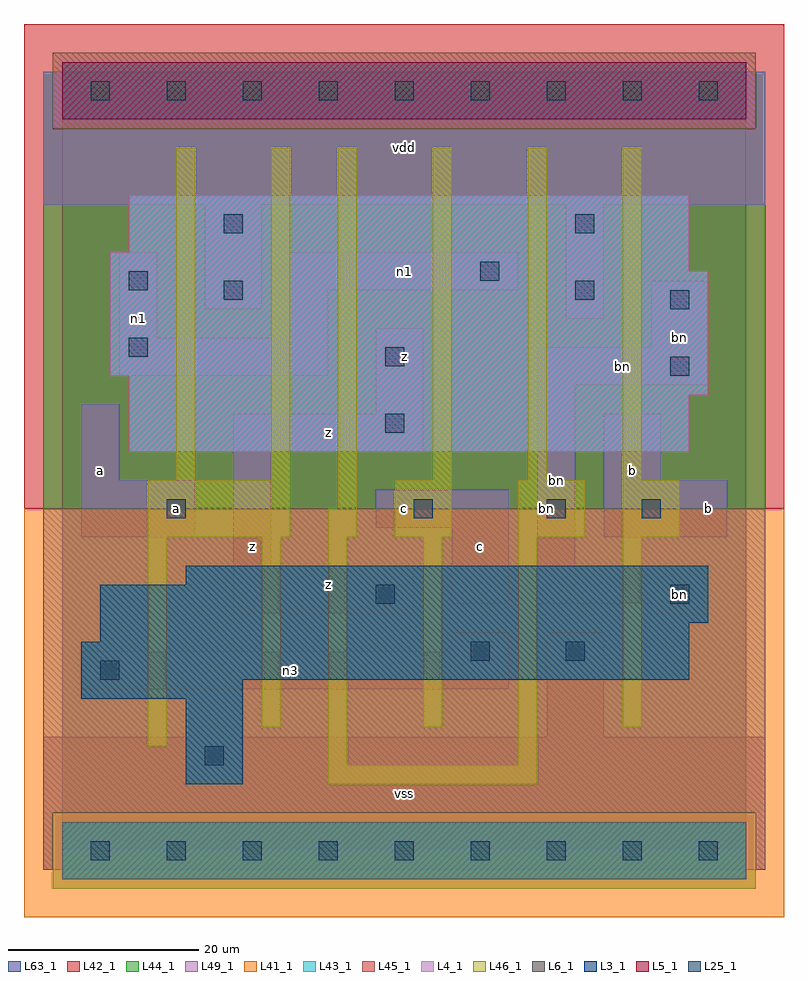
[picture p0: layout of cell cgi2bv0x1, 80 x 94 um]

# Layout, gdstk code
import gdstk
lib = gdstk.Library(unit=1e-6, precision=1e-09)
def R(c, l, rs):  # rectangles x0, y0, x1, y1
    for r in rs: c.add(gdstk.rectangle(r[:2], r[2:], *l))
def A(c, l, x, y, w, h, nx, ny, dx, dy):  # array of equal rectangles
    R(c, l, [(x+i*dx, y+j*dy, x+i*dx+w, y+j*dy+h) for i in range(nx) for j in range(ny)])
L3_1 = (3, 1)
L4_1 = (4, 1)
L5_1 = (5, 1)
L6_1 = (6, 1)
L25_1 = (25, 1)
L41_1 = (41, 1)
L42_1 = (42, 1)
L43_1 = (43, 1)
L44_1 = (44, 1)
L45_1 = (45, 1)
L46_1 = (46, 1)
L49_1 = (49, 1)
L63_1 = (63, 1)

cgi2bv0x1 = lib.new_cell('cgi2bv0x1')
R(cgi2bv0x1, L3_1, [(13,7,19,16), (2,16,19,18), (2,18,66,22), (4,22,66,24), (4,24,68,28), (13,28,68,30)])
R(cgi2bv0x1, L4_1, [(7,42,66,48), (7,48,68,50), (5,50,68,61), (5,61,66,63), (7,63,66,69)])
R(cgi2bv0x1, L5_1, [(0,77,72,83)])
R(cgi2bv0x1, L6_1, [(0,-3,72,3), (0,-3,72,3)])
A(cgi2bv0x1, L25_1, 3, -1, 2, 2, 9, 2, 8, 80)
R(cgi2bv0x1, L25_1, [(15,9,17,11), (4,18,6,20), (43,20,45,22), (53,20,55,22), (33,26,35,28), (64,26,66,28), (11,35,13,37), (37,35,39,37), (51,35,53,37), (61,35,63,37), (34,44,36,46), (64,50,66,52), (34,51,36,53), (7,52,9,54), (64,57,66,59), (17,58,19,60), (54,58,56,60), (7,59,9,61), (44,60,46,62), (17,65,19,67), (54,65,56,67)])
R(cgi2bv0x1, L41_1, [(-4,-7,76,36)])
R(cgi2bv0x1, L42_1, [(-4,36,76,87)])
R(cgi2bv0x1, L43_1, [(0,-3,72,3), (13,7,19,16), (2,16,19,18), (2,18,66,22), (4,22,66,24), (4,24,68,28), (13,28,68,30), (7,42,66,48), (7,48,68,50), (5,50,68,61), (5,61,66,63), (7,63,66,69), (0,77,72,83)])
R(cgi2bv0x1, L44_1, [(-1,-4,73,4), (-2,36,74,76), (-2,76,-1,82), (73,76,74,82)])
R(cgi2bv0x1, L45_1, [(-2,-2,-1,4), (73,-2,74,4), (-2,4,74,36), (-1,76,73,84)])
A(cgi2bv0x1, L46_1, 39, 39, 2, 35, 3, 1, 10, 0)
R(cgi2bv0x1, L46_1, [(28,7,50,9), (28,9,30,33), (48,9,50,33), (9,11,11,33), (21,13,23,33), (38,13,40,33), (59,13,61,33), (9,33,24,39), (28,33,31,36), (35,33,41,39), (48,33,55,39), (59,33,65,39), (29,36,31,74), (12,39,14,74), (22,39,24,74)])
R(cgi2bv0x1, L49_1, [(-2,-2,74,12), (51,12,57,23), (2,17,47,21), (41,21,47,23), (18,25,37,30), (62,25,68,26), (41,26,47,34), (50,26,68,30), (18,30,22,42), (50,30,54,49), (2,33,14,39), (57,33,70,39), (33,34,47,38), (2,39,6,47), (57,39,63,46), (18,42,38,46), (33,46,38,55), (50,49,68,53), (6,50,28,54), (62,53,68,60), (6,54,10,63), (24,54,28,59), (53,56,57,68), (15,57,21,68), (24,59,48,63), (-2,68,74,82)])
R(cgi2bv0x1, L63_1, [(0,0,72,80)])
cgi2bv0x1.add(gdstk.Label('bn', (51,36), layer=49, texttype=1))
cgi2bv0x1.add(gdstk.Label('a', (4,40), layer=49, texttype=1))
cgi2bv0x1.add(gdstk.Label('n1', (8,56), layer=49, texttype=1))
cgi2bv0x1.add(gdstk.Label('z', (20,32), layer=49, texttype=1))
cgi2bv0x1.add(gdstk.Label('a', (12,36), layer=49, texttype=1))
cgi2bv0x1.add(gdstk.Label('vss', (36,6), layer=49, texttype=1))
cgi2bv0x1.add(gdstk.Label('z', (28,28), layer=49, texttype=1))
cgi2bv0x1.add(gdstk.Label('z', (28,44), layer=49, texttype=1))
cgi2bv0x1.add(gdstk.Label('c', (36,36), layer=49, texttype=1))
cgi2bv0x1.add(gdstk.Label('z', (36,52), layer=49, texttype=1))
cgi2bv0x1.add(gdstk.Label('vdd', (36,74), layer=49, texttype=1))
cgi2bv0x1.add(gdstk.Label('n3', (24,19), layer=49, texttype=1))
cgi2bv0x1.add(gdstk.Label('c', (44,32), layer=49, texttype=1))
cgi2bv0x1.add(gdstk.Label('bn', (52,39), layer=49, texttype=1))
cgi2bv0x1.add(gdstk.Label('n1', (36,61), layer=49, texttype=1))
cgi2bv0x1.add(gdstk.Label('bn', (65,27), layer=49, texttype=1))
cgi2bv0x1.add(gdstk.Label('b', (60,40), layer=49, texttype=1))
cgi2bv0x1.add(gdstk.Label('b', (68,36), layer=49, texttype=1))
cgi2bv0x1.add(gdstk.Label('bn', (65,54), layer=49, texttype=1))
cgi2bv0x1.add(gdstk.Label('bn', (59,51), layer=49, texttype=1))

lib.write_gds('cgi2bv0x1.gds')
